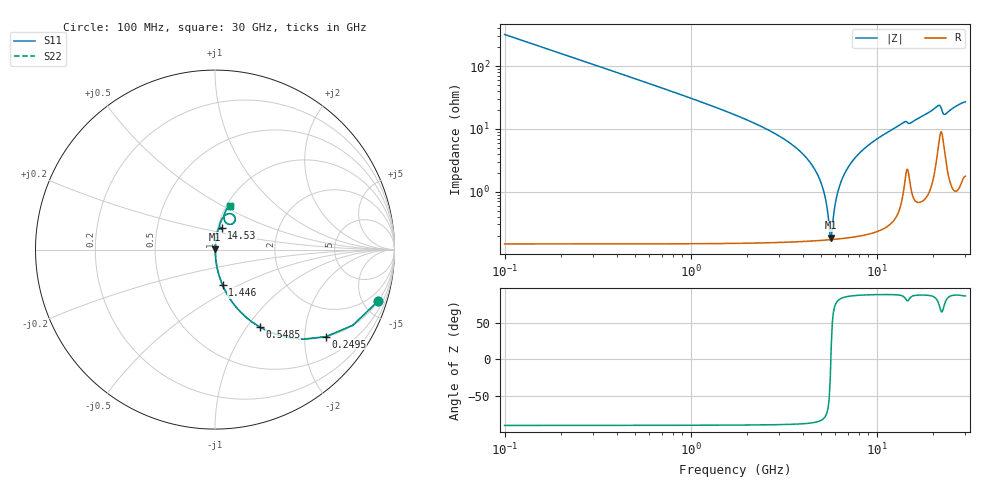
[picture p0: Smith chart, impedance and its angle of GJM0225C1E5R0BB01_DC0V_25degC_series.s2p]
!Murata Part Number: GJM0225C1E5R0BB01
!These Parameters are Measured in Series Mode Connection
!  o--ll--o
!Port1  Port2
!  o------o
!Operation Temp=25[degC], DC Bias Voltage=0[V]
!Freq. Start=100[MHz] Stop=30[GHz], 401[Steps]
!Data Generated on Feb 1, 2023
# Hz S RI R 50
!Freq.(Hz) S11(Real) S11(Imag) S21(Real) S21(Imag) S12(Real) S12(Imag) S22(Real) S22(Imag)
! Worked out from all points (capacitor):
!   401 points, 100 MHz to 30 GHz, reference 50 ohm
!   read as one part in series: C = 5 pF near 249.5 MHz
!   lowest |Z| = 184 mohm at 5.706 GHz (marker M1)
!   series resonance near 5.674 GHz, so ESL is about 160 pH
!   S11 on the Smith chart (normalised r, x): 100 MHz: 1.00, -6.36; 249.5 MHz: 1.00, -2.55; 548.5 MHz: 1.00, -1.15; 1.446 GHz: 1.00, -0.41; 14.53 GHz: 1.04, +0.25; 30 GHz: 1.04, +0.54
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1e8  0.91 -0.2859  0.09 0.2859  0.09 0.2859  0.91 -0.2859
2.495e8  0.6184 -0.4852  0.3816 0.4852  0.3816 0.4852  0.6184 -0.4852
5.485e8  0.249 -0.4311  0.751 0.4311  0.751 0.4311  0.249 -0.4311
8.475e8  0.1198 -0.3228  0.8802 0.3228  0.8802 0.3228  0.1198 -0.3228
1.4455e9  0.042 -0.197  0.958 0.197  0.958 0.197  0.042 -0.197
4.1365e9  0.00291 -0.036  0.9971 0.036  0.9971 0.036  0.00291 -0.036
4.7345e9  0.00207 -0.0204  0.9979 0.0204  0.9979 0.0204  0.00207 -0.0204
5.10825e9  0.00181 -0.0118  0.9982 0.0118  0.9982 0.0118  0.00181 -0.0118
5.3325e9  0.00174 -0.00696  0.9983 0.00696  0.9983 0.00696  0.00174 -0.00696
5.55675e9  0.00171 -0.00234  0.9983 0.00234  0.9983 0.00234  0.00171 -0.00234
5.70625e9  0.00172 0.000647  0.9983 -0.000647  0.9983 -0.000647  0.00172 0.000647
6.2295e9  0.00187 0.0105  0.9981 -0.0105  0.9981 -0.0105  0.00187 0.0105
6.90225e9  0.00232 0.0222  0.9977 -0.0222  0.9977 -0.0222  0.00232 0.0222
8.173e9  0.00375 0.0421  0.9963 -0.0421  0.9963 -0.0421  0.00375 0.0421
1.01165e10  0.00716 0.0693  0.9928 -0.0693  0.9928 -0.0693  0.00716 0.0693
1.452675e10  0.0366 0.1197  0.9634 -0.1197  0.9634 -0.1197  0.0366 0.1197
1.505e10  0.0286 0.1158  0.9714 -0.1158  0.9714 -0.1158  0.0286 0.1158
2.005825e10  0.052 0.1878  0.948 -0.1878  0.948 -0.1878  0.052 0.1878
2.170275e10  0.104 0.1911  0.896 -0.1911  0.896 -0.1911  0.104 0.1911
2.304825e10  0.0696 0.1437  0.9304 -0.1437  0.9304 -0.1437  0.0696 0.1437
2.50665e10  0.0506 0.1896  0.9494 -0.1896  0.9494 -0.1896  0.0506 0.1896
3e10  0.0812 0.2424  0.9188 -0.2424  0.9188 -0.2424  0.0812 0.2424
